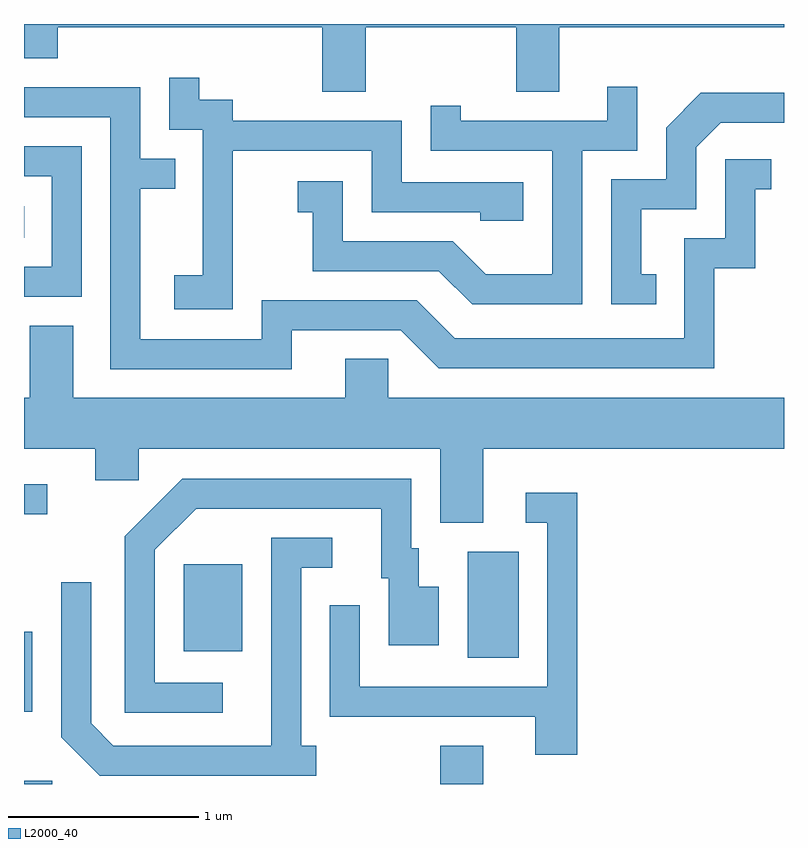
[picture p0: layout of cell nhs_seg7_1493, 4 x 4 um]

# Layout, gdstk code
import gdstk
lib = gdstk.Library(unit=1e-6, precision=1e-09)
def R(c, l, rs):  # rectangles x0, y0, x1, y1
    for r in rs: c.add(gdstk.rectangle(r[:2], r[2:], *l))
def P(c, l, *ps):  # polygons
    for p in ps: c.add(gdstk.Polygon(p, *l))
L2000_40 = (2000, 40)

nhs_seg7_1493 = lib.new_cell('nhs_seg7_1493')
R(nhs_seg7_1493, L2000_40, [(229.611,1790.252,229.759,1790.269), (231.801,1790.252,232.029,1790.454), (229.611,1790.631,229.654,1791.054), (231.946,1790.916,232.214,1791.474), (230.451,1790.951,230.759,1791.409), (229.611,1791.671,229.733,1791.829), (229.611,1793.126,229.613,1793.294)])
P(nhs_seg7_1493, L2000_40, [(229.611,1794.071),(229.789,1794.071),(229.789,1794.236),(231.181,1794.236),(231.181,1793.896),(231.409,1793.896),(231.409,1794.236),(232.201,1794.236),(232.201,1793.896),(232.429,1793.896),(232.429,1794.236),(233.611,1794.236),(233.611,1794.252),(229.611,1794.252)],
  [(230.709,1793.586),(231.441,1793.586),(231.441,1793.261),(232.011,1793.261),(232.011,1793.216),(232.239,1793.216),(232.239,1793.419),(231.599,1793.419),(231.599,1793.744),(230.709,1793.744),(230.709,1793.854),(230.534,1793.854),(230.534,1793.968),(230.376,1793.968),(230.376,1793.696),(230.551,1793.696),(230.551,1792.929),(230.401,1792.929),(230.401,1792.751),(230.709,1792.751)],
  [(232.549,1793.586),(232.839,1793.586),(232.839,1793.923),(232.681,1793.923),(232.681,1793.744),(231.909,1793.744),(231.909,1793.823),(231.751,1793.823),(231.751,1793.586),(232.391,1793.586),(232.391,1792.934),(232.042,1792.934),(231.867,1793.109),(231.289,1793.109),(231.289,1793.424),(231.053,1793.424),(231.053,1793.261),(231.131,1793.261),(231.131,1792.951),(231.794,1792.951),(231.969,1792.776),(232.549,1792.776)],
  [(231.019,1792.641),(231.594,1792.641),(231.794,1792.441),(233.244,1792.441),(233.244,1792.966),(233.459,1792.966),(233.459,1793.381),(233.543,1793.381),(233.543,1793.539),(233.301,1793.539),(233.301,1793.124),(233.086,1793.124),(233.086,1792.599),(231.877,1792.599),(231.677,1792.799),(230.861,1792.799),(230.861,1792.594),(230.224,1792.594),(230.224,1793.386),(230.408,1793.386),(230.408,1793.544),(230.224,1793.544),(230.224,1793.919),(229.611,1793.919),(229.611,1793.761),(230.066,1793.761),(230.066,1792.436),(231.019,1792.436)],
  [(232.938,1792.934),(232.859,1792.934),(232.859,1793.276),(233.149,1793.276),(233.149,1793.604),(233.277,1793.731),(233.611,1793.731),(233.611,1793.889),(233.174,1793.889),(232.991,1793.707),(232.991,1793.434),(232.701,1793.434),(232.701,1792.776),(232.938,1792.776)],
  [(229.914,1793.609),(229.611,1793.609),(229.611,1793.451),(229.756,1793.451),(229.756,1792.974),(229.611,1792.974),(229.611,1792.816),(229.914,1792.816)],
  [(232.029,1792.016),(233.611,1792.016),(233.611,1792.284),(231.529,1792.284),(231.529,1792.489),(231.301,1792.489),(231.301,1792.284),(229.869,1792.284),(229.869,1792.664),(229.641,1792.664),(229.641,1792.284),(229.611,1792.284),(229.611,1792.016),(229.986,1792.016),(229.986,1791.851),(230.214,1791.851),(230.214,1792.016),(231.801,1792.016),(231.801,1791.626),(232.029,1791.626)],
  [(230.658,1790.784),(230.299,1790.784),(230.299,1791.484),(230.517,1791.701),(231.491,1791.701),(231.491,1791.336),(231.531,1791.336),(231.531,1790.981),(231.794,1790.981),(231.794,1791.289),(231.689,1791.289),(231.689,1791.494),(231.649,1791.494),(231.649,1791.859),(230.444,1791.859),(230.141,1791.557),(230.141,1790.626),(230.658,1790.626)],
  [(232.524,1791.784),(232.253,1791.784),(232.253,1791.626),(232.366,1791.626),(232.366,1790.764),(231.379,1790.764),(231.379,1791.193),(231.221,1791.193),(231.221,1790.606),(232.301,1790.606),(232.301,1790.406),(232.524,1790.406)],
  [(231.148,1790.454),(231.069,1790.454),(231.069,1791.391),(231.233,1791.391),(231.233,1791.549),(230.911,1791.549),(230.911,1790.454),(230.082,1790.454),(229.964,1790.572),(229.964,1791.313),(229.806,1791.313),(229.806,1790.499),(230.009,1790.296),(231.148,1790.296)])

lib.write_gds('nhs_seg7_1493.gds')
